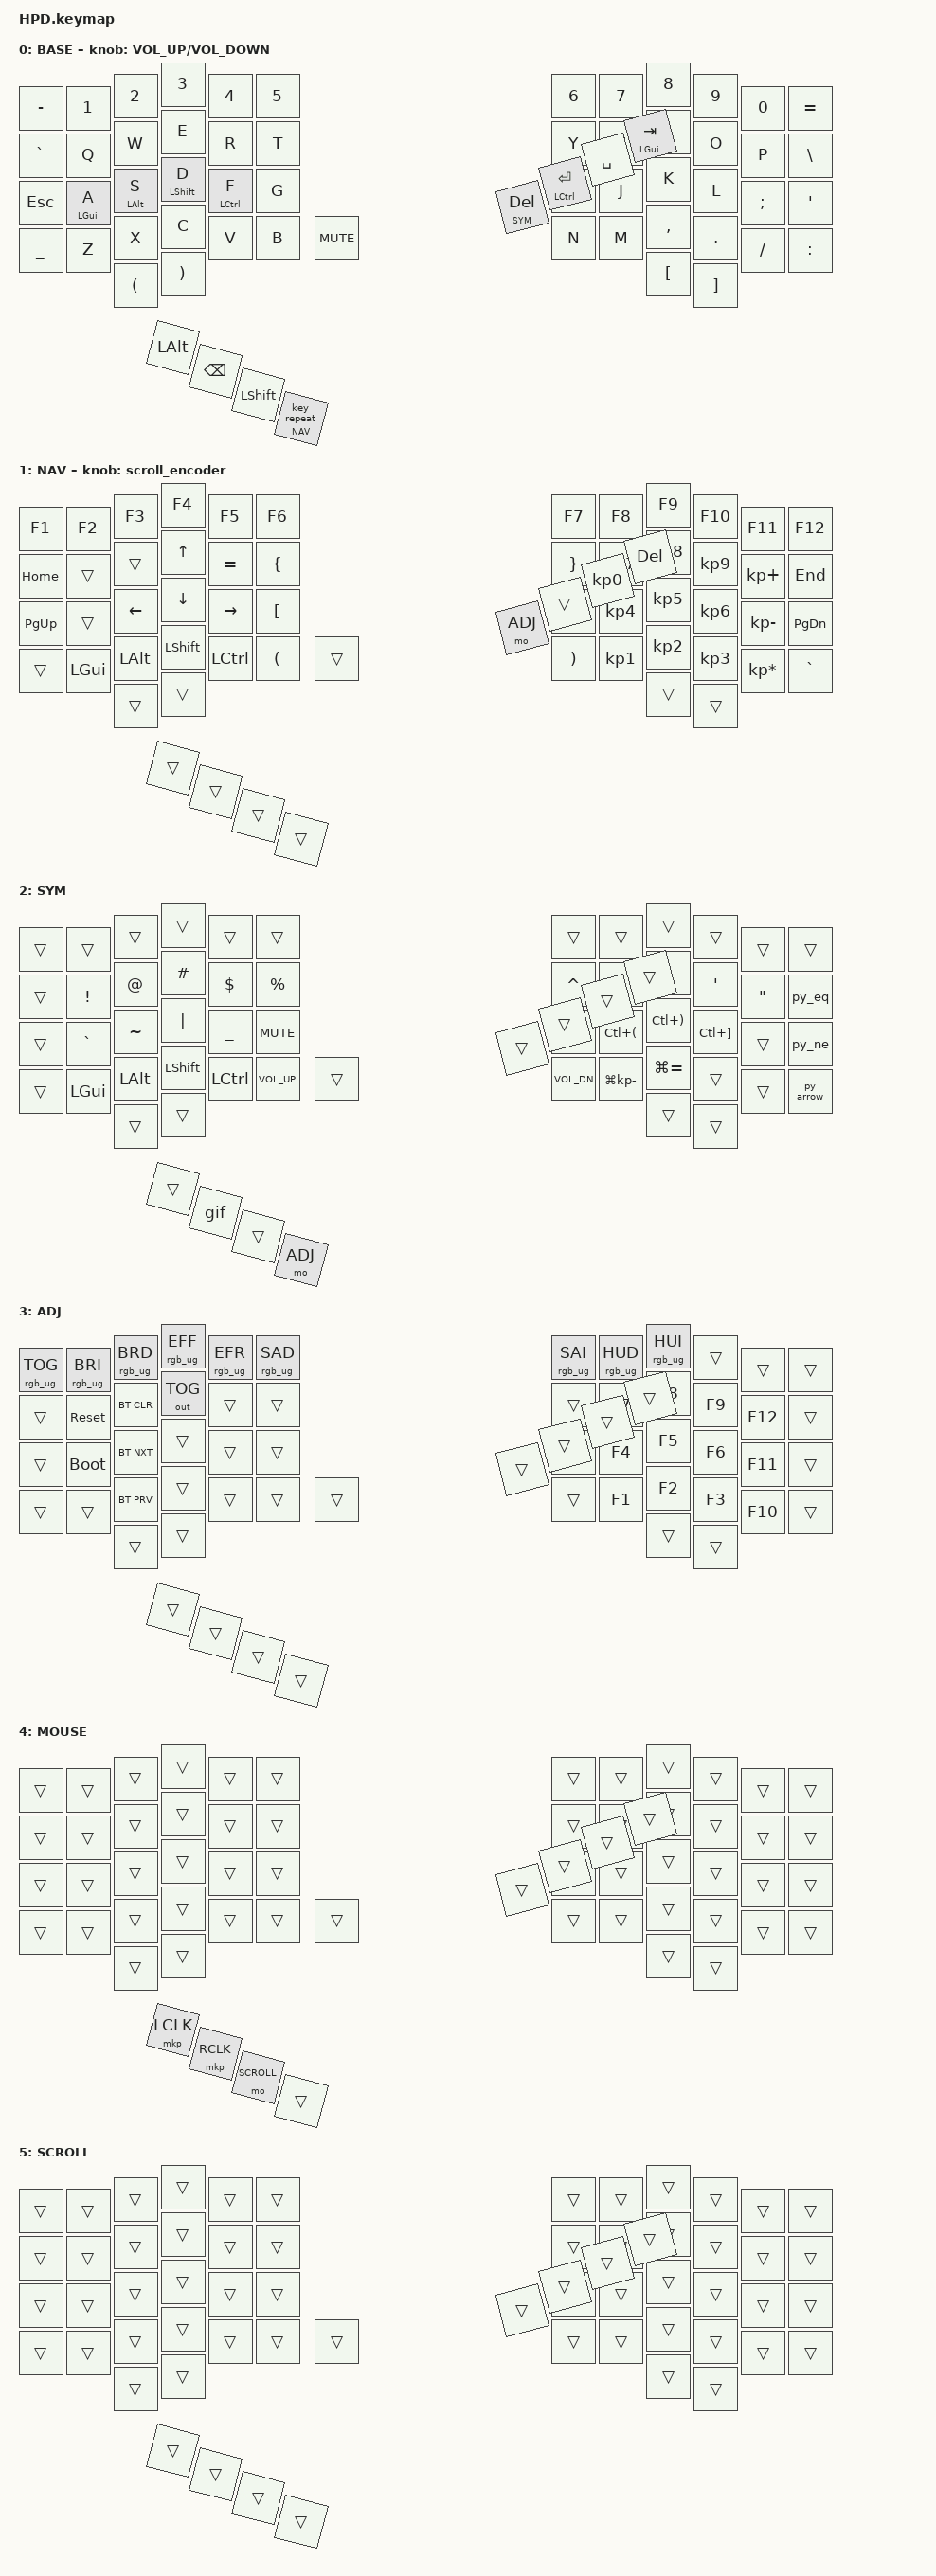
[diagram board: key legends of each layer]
#define ZMK_POINTING_DEFAULT_MOVE_VAL 1200 // 600
#define ZMK_POINTING_DEFAULT_SCRL_VAL 200 // 10

#include <behaviors/mouse_keys.dtsi>
#include <dt-bindings/zmk/mouse.h>
#include <input/processors.dtsi>
#include <zephyr/dt-bindings/input/input-event-codes.h>
#include <behaviors.dtsi>
#include <dt-bindings/zmk/bt.h>
#include <dt-bindings/zmk/keys.h>
#include <dt-bindings/zmk/outputs.h>
#include <dt-bindings/zmk/pointing.h>
#include <dt-bindings/zmk/rgb.h>

#define BASE 0
#define NAV 1
#define SYM 2
#define ADJ 3
#define MOUSE 4
#define SCROLL 5

&mmv_input_listener { input-processors = <&zip_xy_scaler 2 1>; };

&msc_input_listener { input-processors = <&zip_scroll_scaler 1 2>; };

&msc {
    acceleration-exponent = <1>;      // 0
    time-to-max-speed-ms = <100>;       // 300
    delay-ms = <0>;                   // 0
};

&mmv {
    time-to-max-speed-ms = <500>;
    acceleration-exponent = <1>;
    trigger-period-ms = <16>;
};

/ {
    scroll_encoder: scroll_encoder {
        compatible = "zmk,behavior-sensor-rotate";
        #sensor-binding-cells = <0>;
        bindings = <&msc SCRL_DOWN>, <&msc SCRL_UP>;
        tap-ms = <100>;
    };
};

&lt {
    tapping-term-ms = <240>;
    flavor = "balanced";
    quick-tap-ms = <150>;
};

&mt {
    quick-tap-ms = <100>;
    global-quick-tap;
    flavor = "tap-preferred";
    tapping-term-ms = <170>;
};

/ {
    behaviors {
        hml: left_home_row_mod {
            compatible = "zmk,behavior-hold-tap";
            #binding-cells = <2>;
            flavor = "balanced";
            tapping-term-ms = <280>;
            quick-tap-ms = <175>;
            require-prior-idle-ms = <150>;
            bindings = <&kp>, <&kp>;
            hold-trigger-key-positions = <
                6 7 8 9 10 11
                18 19 20 21 22 23
                30 31 32 33 34 35
                42 43 44 45 46 47
                48 49 50 51 52 53 54 55 56 57 58 59
            >;
            hold-trigger-on-release;
        };

        snipe_repeat: snipe_repeat {
            compatible = "zmk,behavior-hold-tap";
            #binding-cells = <2>;
            flavor = "balanced";
            tapping-term-ms = <240>;
            quick-tap-ms = <150>;
            bindings = <&mo>, <&key_repeat>;
            hold-while-undecided;
        };
    };

    macros {
        gif: gif {
            label = "giphy";
            compatible = "zmk,behavior-macro";
            #binding-cells = <0>;
            bindings
                = <&macro_press &kp LSHFT>
                , <&macro_tap &kp N2>
                , <&macro_release &kp LSHFT>
                , <&macro_tap &kp G &kp I &kp F>
                ;
        };

        py_eq: py_eq {
            label = "==";
            compatible = "zmk,behavior-macro";
            #binding-cells = <0>;
            bindings = <&macro_tap &kp EQUAL &kp EQUAL>;
        };

        py_ne: py_ne {
            label = "!=";
            compatible = "zmk,behavior-macro";
            #binding-cells = <0>;
            bindings = <&macro_tap &kp EXCLAMATION &kp EQUAL>;
        };

        py_arrow: py_arrow {
            label = "->";
            compatible = "zmk,behavior-macro";
            #binding-cells = <0>;
            bindings = <&macro_tap &kp MINUS &kp GREATER_THAN>;
        };
    };

    keymap {
        compatible = "zmk,keymap";

        default_layer {
            label = "BASE";
            bindings = <
&kp MINUS       &kp N1  &kp N2                 &kp N3              &kp N4        &kp N5         &kp N6     &kp N7     &kp N8     &kp N9   &kp N0                   &kp EQUAL
&kp GRAVE       &kp Q   &kp W                  &kp E               &kp R         &kp T          &kp Y      &kp U      &kp I      &kp O    &kp P                    &kp BSLH
&kp ESC         &hml LGUI A  &hml LALT S        &hml LSHFT D        &hml LCTRL F  &kp G          &kp H      &kp J      &kp K      &kp L    &kp SEMI                 &kp SQT
&kp UNDERSCORE  &kp Z   &kp X                  &kp C               &kp V         &kp B          &kp N      &kp M      &kp COMMA  &kp DOT  &kp FSLH                 &kp COLON
&kp LSHFT       &snipe_repeat NAV 0  &kp LEFT_PARENTHESIS  &kp RIGHT_PARENTHESIS  &kp LALT  &kp BACKSPACE  &kp SPACE  &mt LGUI TAB  &kp LBKT  &kp RBKT  &lt SYM DELETE  &mt LCTRL ENTER
                                                                                  &kp K_MUTE
            >;

            sensor-bindings = <&inc_dec_kp K_VOLUME_UP K_VOLUME_DOWN>;
        };

        nav_layer {
            bindings = <
&kp F1     &kp F2    &kp F3       &kp F4     &kp F5       &kp F6                 &kp F7                 &kp F8     &kp F9     &kp F10    &kp F11           &kp F12
&kp HOME   &trans    &trans        &kp UP     &kp EQUAL    &kp LEFT_BRACE         &kp RIGHT_BRACE        &kp KP_N7  &kp KP_N8  &kp KP_N9  &kp KP_PLUS       &kp END
&kp PG_UP  &trans    &kp LEFT      &kp DOWN   &kp RIGHT    &kp LEFT_BRACKET       &kp RIGHT_BRACKET      &kp KP_N4  &kp KP_N5  &kp KP_N6  &kp KP_MINUS      &kp PG_DN
&trans     &kp LGUI  &kp LALT      &kp LSHFT  &kp LCTRL    &kp LEFT_PARENTHESIS  &kp RIGHT_PARENTHESIS  &kp KP_N1  &kp KP_N2  &kp KP_N3  &kp KP_MULTIPLY   &kp GRAVE
&trans     &trans    &trans        &trans     &trans       &trans                 &kp KP_N0               &kp DEL    &trans     &trans     &mo ADJ           &trans
                                                                                  &trans
            >;

            label = "NAV";
            sensor-bindings = <&scroll_encoder>;
        };

        symbol_layer {
            label = "SYM";
            bindings = <
&trans  &trans         &trans        &trans        &trans       &trans         &trans          &trans          &trans          &trans          &trans             &trans
&trans  &kp EXCLAMATION  &kp AT_SIGN  &kp HASH     &kp DOLLAR   &kp PERCENT    &kp CARET       &kp AMPERSAND  &kp BSLH        &kp SQT        &kp DOUBLE_QUOTES  &py_eq
&trans  &kp GRAVE      &kp TILDE     &kp PIPE      &kp UNDERSCORE  &kp C_MUTE  &kp LC(LBKT)    &kp LC(LPAR)   &kp LC(RPAR)   &kp LC(RBKT)   &trans             &py_ne
&trans  &kp LGUI       &kp LALT      &kp LSHFT     &kp LCTRL    &kp C_VOL_UP   &kp C_VOL_DN    &kp LG(KP_MINUS)  &kp LG(EQUAL)  &trans       &trans             &py_arrow
&trans  &mo ADJ        &trans        &trans        &trans       &gif           &trans          &trans          &trans          &trans          &trans             &trans
                                                                       &trans
            >;
        };

        adjust_layer {
            label = "ADJ";
            bindings = <
&rgb_ug RGB_TOG  &rgb_ug RGB_BRI  &rgb_ug RGB_BRD   &rgb_ug RGB_EFF  &rgb_ug RGB_EFR  &rgb_ug RGB_SAD  &rgb_ug RGB_SAI  &rgb_ug RGB_HUD  &rgb_ug RGB_HUI  &trans  &trans  &trans
&trans  &sys_reset   &bt BT_CLR  &out OUT_TOG  &trans  &trans  &trans  &kp F7  &kp F8  &kp F9  &kp F12  &trans
&trans  &bootloader  &bt BT_NXT  &trans        &trans  &trans  &trans  &kp F4  &kp F5  &kp F6  &kp F11  &trans
&trans  &trans       &bt BT_PRV  &trans        &trans  &trans  &trans  &kp F1  &kp F2  &kp F3  &kp F10  &trans
&trans  &trans  &trans   &trans   &trans   &trans  &trans  &trans  &trans  &trans  &trans  &trans
                                            &trans
            >;
        };

        mouse_layer {
            label = "MOUSE";
            bindings = <
&trans  &trans    &trans    &trans  &trans     &trans  &trans     &trans  &trans  &trans  &trans     &trans
&trans  &trans    &trans    &trans  &trans     &trans  &trans     &trans  &trans  &trans  &trans     &trans
&trans  &trans    &trans    &trans  &trans     &trans  &trans     &trans  &trans  &trans  &trans     &trans
&trans  &trans    &trans    &trans  &trans     &trans  &trans     &trans  &trans  &trans  &trans     &trans
&mo SCROLL  &trans  &trans  &trans  &mkp LCLK  &mkp RCLK  &trans  &trans  &trans  &trans  &trans  &trans
                                                &trans
            >;
        };

        scroll_layer {
            label = "SCROLL";
            bindings = <
&trans  &trans  &trans  &trans  &trans  &trans  &trans  &trans  &trans  &trans  &trans  &trans
&trans  &trans  &trans  &trans  &trans  &trans  &trans  &trans  &trans  &trans  &trans  &trans
&trans  &trans  &trans  &trans  &trans  &trans  &trans  &trans  &trans  &trans  &trans  &trans
&trans  &trans  &trans  &trans  &trans  &trans  &trans  &trans  &trans  &trans  &trans  &trans
&trans  &trans  &trans  &trans  &trans  &trans  &trans  &trans  &trans  &trans  &trans  &trans
                                        &trans
            >;
        };

    };
};
